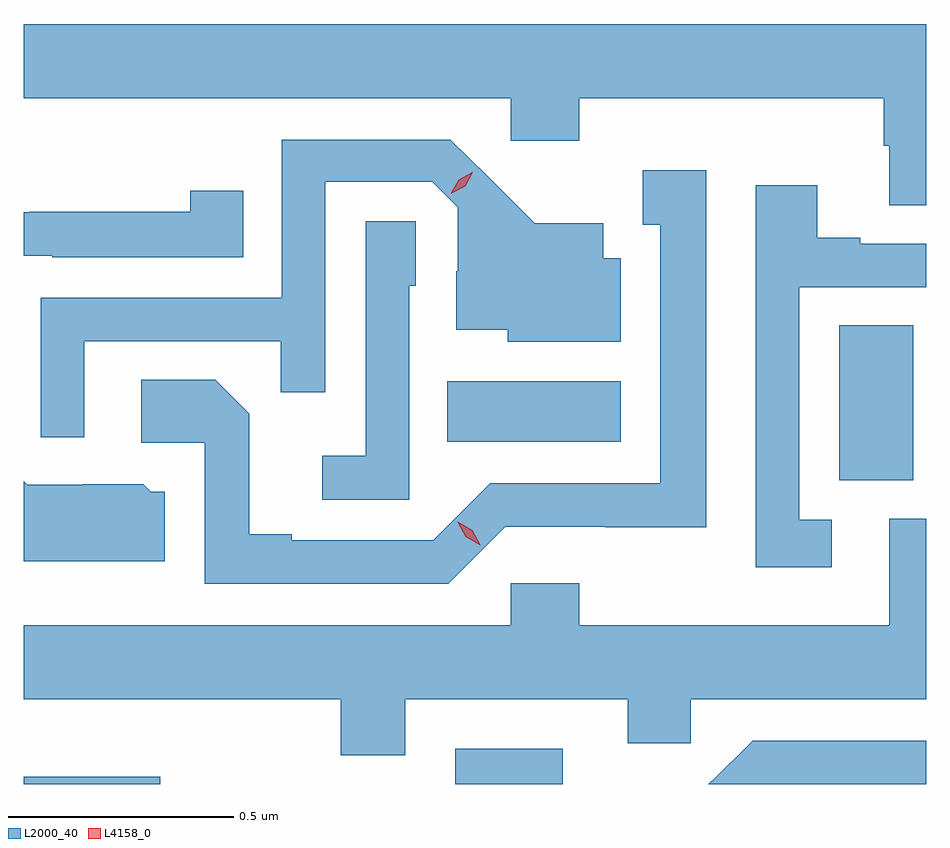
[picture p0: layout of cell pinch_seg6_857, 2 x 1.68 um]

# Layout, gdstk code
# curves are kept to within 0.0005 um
import gdstk
lib = gdstk.Library(unit=1e-6, precision=1e-09)
def R(c, l, rs):  # rectangles x0, y0, x1, y1
    for r in rs: c.add(gdstk.rectangle(r[:2], r[2:], *l))
def P(c, l, *ps):  # polygons
    for p in ps: c.add(gdstk.Polygon(p, *l))
L2000_40 = (2000, 40)
L4158_0 = (4158, 0)

pinch_seg6_857 = lib.new_cell('pinch_seg6_857')
R(pinch_seg6_857, L2000_40, [(149.305,971.124,149.608,971.14), (150.261,971.124,150.499,971.202), (151.112,971.797,151.276,972.14), (150.244,971.882,150.628,972.016)])
P(pinch_seg6_857, L2000_40, [(151.305,972.808),(149.305,972.808),(149.305,972.644),(150.384,972.644),(150.384,972.549),(150.536,972.549),(150.536,972.644),(151.211,972.644),(151.211,972.538),(151.223,972.538),(151.223,972.406),(151.305,972.406)],
  [(149.439,972.105),(149.875,972.105),(149.875,971.992),(149.973,971.992),(149.973,972.459),(150.21,972.459),(150.267,972.402),(150.267,972.26),(150.263,972.26),(150.263,972.131),(150.378,972.131),(150.378,972.104),(150.628,972.104),(150.628,972.289),(150.589,972.289),(150.589,972.367),(150.437,972.367),(150.25,972.552),(149.877,972.552),(149.877,972.201),(149.343,972.201),(149.343,971.892),(149.439,971.892)],
  [(150.372,971.694),(150.594,971.694),(150.594,971.693),(150.817,971.693),(150.817,972.484),(150.677,972.484),(150.677,972.363),(150.716,972.363),(150.716,971.79),(150.339,971.79),(150.213,971.664),(149.899,971.664),(149.899,971.677),(149.805,971.677),(149.805,971.944),(149.729,972.02),(149.565,972.02),(149.565,971.88),(149.706,971.88),(149.706,971.568),(150.246,971.568)],
  [(151.096,971.709),(151.023,971.709),(151.023,972.225),(151.305,972.225),(151.305,972.321),(151.159,972.321),(151.159,972.334),(151.063,972.334),(151.063,972.451),(150.927,972.451),(150.927,971.604),(151.096,971.604)],
  [(149.792,972.439),(149.674,972.439),(149.674,972.392),(149.317,972.392),(149.317,972.391),(149.305,972.391),(149.305,972.294),(149.368,972.294),(149.368,972.291),(149.792,972.291)],
  [(150.159,972.228),(150.174,972.228),(150.174,972.371),(150.063,972.371),(150.063,971.851),(149.967,971.851),(149.967,971.754),(150.159,971.754)],
  [(149.617,971.772),(149.586,971.772),(149.57,971.788),(149.436,971.788),(149.436,971.787),(149.313,971.787),(149.305,971.795),(149.305,971.618),(149.617,971.618)],
  [(150.151,971.312),(150.644,971.312),(150.644,971.214),(150.783,971.214),(150.783,971.312),(151.305,971.312),(151.305,971.712),(151.223,971.712),(151.223,971.476),(150.536,971.476),(150.536,971.569),(150.384,971.569),(150.384,971.476),(149.305,971.476),(149.305,971.312),(150.007,971.312),(150.007,971.188),(150.151,971.188)],
  [(151.305,971.22),(150.92,971.22),(150.829,971.129),(150.828,971.13),(150.822,971.124),(151.305,971.124)])
P(pinch_seg6_857, L4158_0, [(150.317,971.653),(150.285,971.672),(150.267,971.704),(150.267,971.705),(150.267,971.705),(150.299,971.686),(150.317,971.654),(150.317,971.653)],
  [(150.252,972.433),(150.252,972.434),(150.269,972.463),(150.299,972.479),(150.3,972.479),(150.3,972.479),(150.283,972.449),(150.253,972.433)])

lib.write_gds('pinch_seg6_857.gds')
